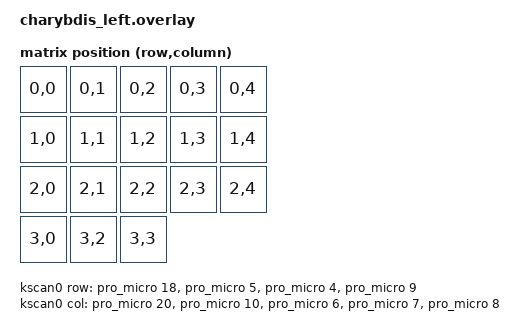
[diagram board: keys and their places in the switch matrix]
#include <dt-bindings/zmk/matrix_transform.h> // Put this with the other includes at the top of your overlay

&pinctrl {
    spi0_default: spi0_default {
        group1 {
            psels = <NRF_PSEL(SPIM_SCK, 0, 8)>,
                <NRF_PSEL(SPIM_MOSI, 0, 17)>,
                <NRF_PSEL(SPIM_MISO, 0, 17)>;
        };
    };

    spi0_sleep: spi0_sleep {
        group1 {
            psels = <NRF_PSEL(SPIM_SCK, 0, 8)>,
                <NRF_PSEL(SPIM_MOSI, 0, 17)>,
                <NRF_PSEL(SPIM_MISO, 0, 17)>;
            low-power-enable;
        };
    };
};

#include <zephyr/dt-bindings/input/input-event-codes.h>

&spi0 {
    status = "okay";
    compatible = "nordic,nrf-spim";
    pinctrl-0 = <&spi0_default>;
    pinctrl-1 = <&spi0_sleep>;
    pinctrl-names = "default", "sleep";
    cs-gpios = <&gpio0 20 GPIO_ACTIVE_LOW>;

    trackball: trackball@0 {
        status = "okay";
        compatible = "pixart,pmw3610";
        reg = <0>;
        spi-max-frequency = <2000000>;
        irq-gpios = <&gpio0 6 (GPIO_ACTIVE_LOW | GPIO_PULL_UP)>;
        cpi = <600>;
        evt-type = <INPUT_EV_REL>;
        x-input-code = <INPUT_REL_X>;
        y-input-code = <INPUT_REL_Y>;

        force-awake;
        /* keep the sensor awake while ZMK activity state is ACTIVE,
           fallback to normal downshift mode after ZMK goes into IDLE / SLEEP mode.
           thus, the sensor would be a `wakeup-source` */
    };
};

/ {
    kscan0: kscan0 {
        compatible = "zmk,kscan-gpio-matrix";
        diode-direction = "row2col";
        wakeup-source;

        row-gpios
            = <&pro_micro 18 GPIO_ACTIVE_HIGH>
            , <&pro_micro 5 GPIO_ACTIVE_HIGH>
            , <&pro_micro 4 GPIO_ACTIVE_HIGH>
            , <&pro_micro 9 GPIO_ACTIVE_HIGH>
            ;

        col-gpios
            = <&pro_micro 20 (GPIO_ACTIVE_HIGH | GPIO_PULL_DOWN)>
            , <&pro_micro 10 (GPIO_ACTIVE_HIGH | GPIO_PULL_DOWN)>
            , <&pro_micro 6 (GPIO_ACTIVE_HIGH | GPIO_PULL_DOWN)>
            , <&pro_micro 7 (GPIO_ACTIVE_HIGH | GPIO_PULL_DOWN)>
            , <&pro_micro 8 (GPIO_ACTIVE_HIGH | GPIO_PULL_DOWN)>
            ;
    };

    default_transform: keymap_transform0 {
        compatible = "zmk,matrix-transform";
        rows = <4>;    // Now corresponds to row-gpios
        columns = <5>; // Now corresponds to col-gpios
        map = <
            RC(0,0) RC(0,1) RC(0,2) RC(0,3) RC(0,4)
            RC(1,0) RC(1,1) RC(1,2) RC(1,3) RC(1,4)
            RC(2,0) RC(2,1) RC(2,2) RC(2,3) RC(2,4)
            RC(3,0) RC(3,2) RC(3,3)
        >;
    };

    physical_layout0: physical_layout_0 {
        compatible = "zmk,physical-layout";
        display-name = "Default Layout";
        kscan = <&kscan0>;
        transform = <&default_transform>;
    };

    trackball_listener {
        compatible = "zmk,input-listener";
        device = <&trackball>;
    };

    chosen {
        zmk,kscan = &kscan0;
        zmk,physical-layout = &physical_layout0;
    };
};
